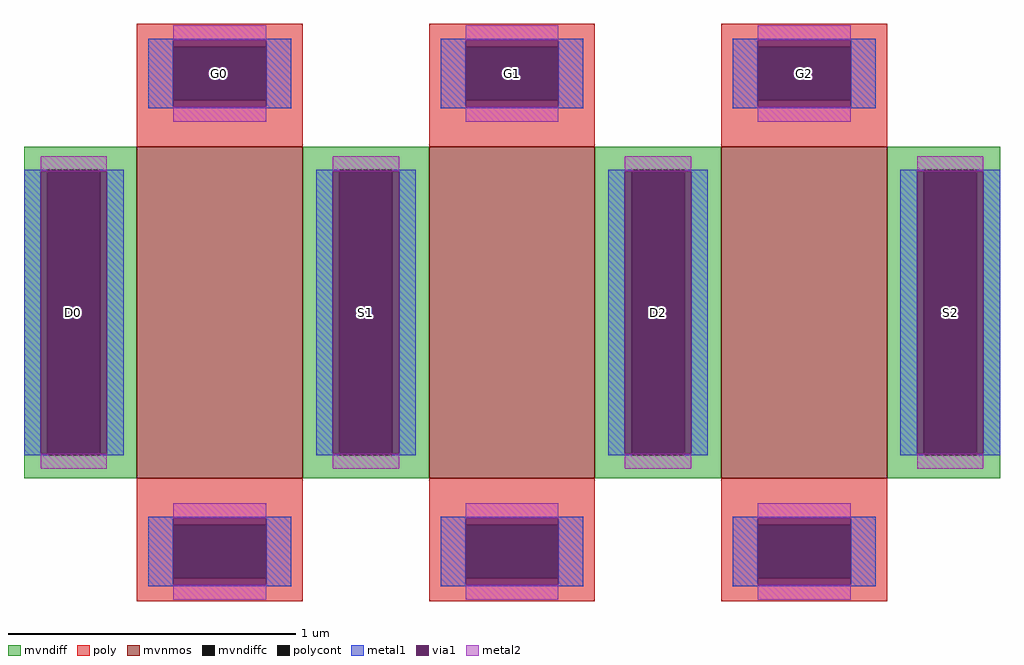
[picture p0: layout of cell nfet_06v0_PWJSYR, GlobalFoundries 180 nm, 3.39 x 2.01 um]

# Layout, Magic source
magic
tech gf180mcuD
magscale 3 26
<< mvnmos >>
rect -226 -100 -126 100
rect -50 -100 50 100
rect 126 -100 226 100
<< mvndiff >>
rect -294 86 -226 100
rect -294 -86 -280 86
rect -248 -86 -226 86
rect -294 -100 -226 -86
rect -126 86 -50 100
rect -126 -86 -104 86
rect -72 -86 -50 86
rect -126 -100 -50 -86
rect 50 86 126 100
rect 50 -86 72 86
rect 104 -86 126 86
rect 50 -100 126 -86
rect 226 86 294 100
rect 226 -86 248 86
rect 280 -86 294 86
rect 226 -100 294 -86
<< mvndiffc >>
rect -280 -86 -248 86
rect -104 -86 -72 86
rect 72 -86 104 86
rect 248 -86 280 86
<< poly >>
rect -226 160 -126 174
rect -226 128 -204 160
rect -148 128 -126 160
rect -226 100 -126 128
rect -50 160 50 174
rect -50 128 -28 160
rect 28 128 50 160
rect -50 100 50 128
rect 126 160 226 174
rect 126 128 148 160
rect 204 128 226 160
rect 126 100 226 128
rect -226 -128 -126 -100
rect -226 -160 -204 -128
rect -148 -160 -126 -128
rect -226 -174 -126 -160
rect -50 -128 50 -100
rect -50 -160 -28 -128
rect 28 -160 50 -128
rect -50 -174 50 -160
rect 126 -128 226 -100
rect 126 -160 148 -128
rect 204 -160 226 -128
rect 126 -174 226 -160
<< polycont >>
rect -204 128 -148 160
rect -28 128 28 160
rect 148 128 204 160
rect -204 -160 -148 -128
rect -28 -160 28 -128
rect 148 -160 204 -128
<< metal1 >>
rect -219 164 -133 165
rect -219 124 -204 164
rect -148 124 -133 164
rect -219 123 -133 124
rect -43 164 43 165
rect -43 124 -28 164
rect 28 124 43 164
rect -43 123 43 124
rect 133 164 219 165
rect 133 124 148 164
rect 204 124 219 164
rect 133 123 219 124
rect -294 85 -280 86
rect -248 85 -234 86
rect -294 -85 -284 85
rect -244 -85 -234 85
rect -294 -86 -280 -85
rect -248 -86 -234 -85
rect -118 85 -104 86
rect -72 85 -58 86
rect -118 -85 -108 85
rect -68 -85 -58 85
rect -118 -86 -104 -85
rect -72 -86 -58 -85
rect 58 85 72 86
rect 104 85 118 86
rect 58 -85 68 85
rect 108 -85 118 85
rect 58 -86 72 -85
rect 104 -86 118 -85
rect 234 85 248 86
rect 280 85 294 86
rect 234 -85 244 85
rect 284 -85 294 85
rect 234 -86 248 -85
rect 280 -86 294 -85
rect -219 -124 -133 -123
rect -219 -164 -204 -124
rect -148 -164 -133 -124
rect -219 -165 -133 -164
rect -43 -124 43 -123
rect -43 -164 -28 -124
rect 28 -164 43 -124
rect -43 -165 43 -164
rect 133 -124 219 -123
rect 133 -164 148 -124
rect 204 -164 219 -124
rect 133 -165 219 -164
<< via1 >>
rect -204 160 -148 164
rect -204 128 -148 160
rect -204 124 -148 128
rect -28 160 28 164
rect -28 128 28 160
rect -28 124 28 128
rect 148 160 204 164
rect 148 128 204 160
rect 148 124 204 128
rect -284 -85 -280 85
rect -280 -85 -248 85
rect -248 -85 -244 85
rect -108 -85 -104 85
rect -104 -85 -72 85
rect -72 -85 -68 85
rect 68 -85 72 85
rect 72 -85 104 85
rect 104 -85 108 85
rect 244 -85 248 85
rect 248 -85 280 85
rect 280 -85 284 85
rect -204 -128 -148 -124
rect -204 -160 -148 -128
rect -204 -164 -148 -160
rect -28 -128 28 -124
rect -28 -160 28 -128
rect -28 -164 28 -160
rect 148 -128 204 -124
rect 148 -160 204 -128
rect 148 -164 204 -160
<< metal2 >>
rect -204 164 -148 173
rect -204 115 -148 124
rect -28 164 28 173
rect -28 115 28 124
rect 148 164 204 173
rect 148 115 204 124
rect -284 85 -244 94
rect -284 -94 -244 -85
rect -108 85 -68 94
rect -108 -94 -68 -85
rect 68 85 108 94
rect 68 -94 108 -85
rect 244 85 284 94
rect 244 -94 284 -85
rect -204 -124 -148 -115
rect -204 -173 -148 -164
rect -28 -124 28 -115
rect -28 -173 28 -164
rect 148 -124 204 -115
rect 148 -173 204 -164
<< labels >>
rlabel mvndiffc -264 0 -264 0 0 D0
port 1 nsew
rlabel polycont -176 144 -176 144 0 G0
port 2 nsew
rlabel mvndiffc -88 0 -88 0 0 S1
port 3 nsew
rlabel polycont 0 144 0 144 0 G1
port 4 nsew
rlabel mvndiffc 88 0 88 0 0 D2
port 5 nsew
rlabel mvndiffc 264 0 264 0 0 S2
port 6 nsew
rlabel polycont 176 144 176 144 0 G2
port 7 nsew
<< properties >>
string gencell nfet_05v0
string library gf180mcu
string parameters w 1.0 l 0.5 m 1 ng 3 diffcov 100 polycov 100 guard 0 glc 1 grc 1 gtc 1 gbc 1 tbcov 100 rlcov 100 topc 1 botc 1 poverlap 0 doverlap 1 lmin 0.45 wmin 0.15 class mosfet compatible {nfet_05v0 nfet_06v0} full_metal 1 conn_gates 0 gate_ring 0 doports 1 viasrc 100 viadrn 100 viagate 100 ccols 1 viagb 0 viagr 0 viagl 0 viagt 0
<< end >>
